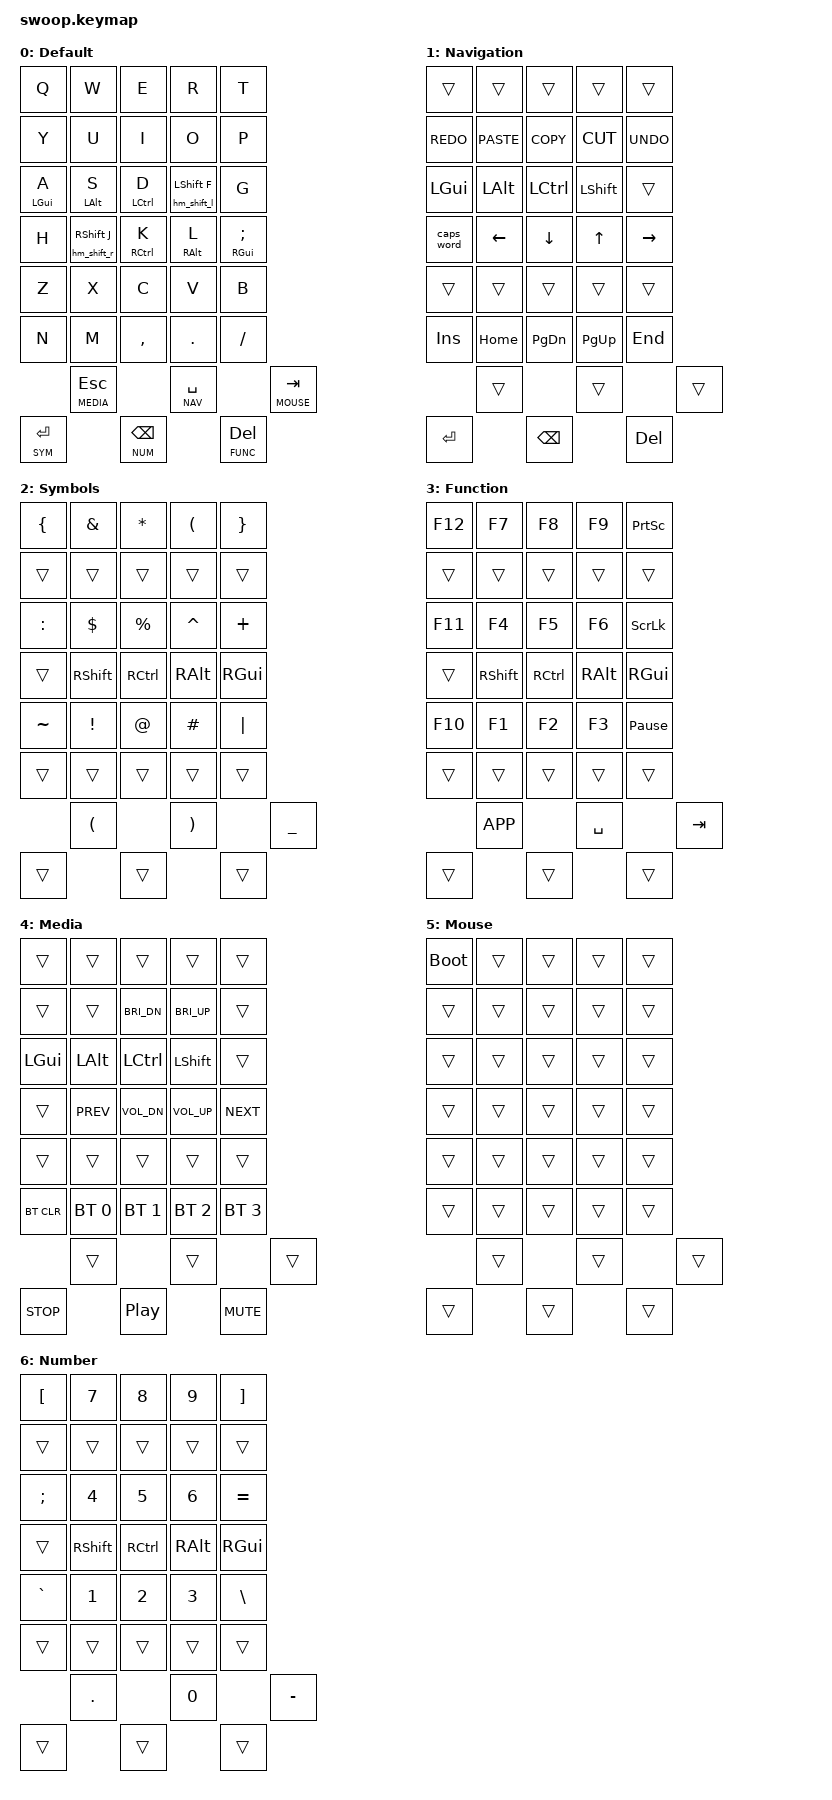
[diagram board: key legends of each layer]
#include <behaviors.dtsi>
#include <dt-bindings/zmk/keys.h>
#include <dt-bindings/zmk/bt.h>
#include <dt-bindings/zmk/outputs.h>

#include "../zmk-nodefree-config/helper.h"
#include "includes/settings.dtsi"
#include "includes/behaviours_homerow_mods.dtsi"

#define ___ &trans

#define DEFAULT 0
#define NAV     1
#define SYM     2
#define FUNC    3
#define MEDIA   4
#define MOUSE   5
#define NUM     6

&caps_word {
    continue-list = <UNDERSCORE MINUS>;
};

/ {
    behaviors {
        hm: homerow_mods {
            compatible = "zmk,behavior-hold-tap";
            display-name = "HOMEROW_MODS";
            #binding-cells = <2>;
            tapping-term-ms = <200>;
            quick_tap_ms = <0>;
            flavor = "tap-preferred";
            bindings = <&kp>, <&kp>;
        };
        hs: homerow_shift {
            compatible = "zmk,behavior-hold-tap";
            display-name = "HOMEROW_SHIFT";
            #binding-cells = <2>;
            tapping-term-ms = <150>;
            quick_tap_ms = <0>;
            flavor = "tap-preferred";
            bindings = <&kp>, <&kp>;
        };
    };
};

/ {

    keymap {
        compatible = "zmk,keymap";

        default_layer {
            display-name = "Default";

            bindings = <
	      // R1 Left
	      &kp Q  &kp W  &kp E  &kp R  &kp T
	      // R1 Right
	      &kp Y  &kp U  &kp I  &kp O  &kp P
	      // R2 Left
	      &hm_l LGUI A  &hm_l LALT S  &hm_l LCTL D  &hm_shift_l LSHIFT F  &kp G
	      // R2 Right
	      &kp H  &hm_shift_r RSHIFT J  &hm_r RCTL K  &hm_r RALT L  &hm_r RGUI SEMICOLON
	      // R3 Left
	      &kp Z  &kp X  &kp C  &kp V  &kp B
	      // R3 Right
	      &kp N  &kp M  &kp COMMA  &kp DOT  &kp FSLH

	      // Thumb Left
              &lt MEDIA ESC  &lt NAV SPACE  &lt MOUSE TAB
	      // Thumb Right
	      &lt SYM RET  &lt NUM BSPC  &lt FUNC DEL
            >;
        };

        nav_layer {
            display-name = "Navigation";

            bindings = <
	      // R1 Left
	      ___   ___   ___   ___   ___
	      // R1 Right
	      &kp K_REDO  &kp K_PASTE  &kp K_COPY  &kp K_CUT  &kp K_UNDO
	      // R2 Left
	      &kp LGUI  &kp LALT  &kp LCTL  &kp LSHIFT  ___
	      // R2 Right
	      &caps_word  &kp LEFT  &kp DOWN  &kp UP  &kp RIGHT
	      // R3 Left
	      ___   ___   ___   ___   ___ 
	      // R3 Right
	      &kp INS  &kp HOME  &kp PG_DN  &kp PG_UP  &kp END
	      // Thumb Left
	      ___   ___   ___
	      // Thumb Right
	      &kp RET &kp BSPC &kp DEL
            >;
        };

        
        sym_layer {
            display-name = "Symbols";

            bindings = <
	      // R1 Left
   	      &kp LBRC  &kp AMPS  &kp STAR  &kp LPAR  &kp RBRC
	      // R1 Right
	      ___   ___   ___   ___  ___
	      // R2 Left
	      &kp COLON  &kp DLLR  &kp PRCNT  &kp CARET  &kp PLUS
	      // R2 Right
	      ___  &kp RSHIFT  &kp RCTL  &kp RALT  &kp RGUI
	      // R3 Left
	      &kp TILDE  &kp EXCL  &kp AT  &kp HASH  &kp PIPE
	      // R3 Right
	      ___  ___  ___  ___  ___
	      // Thumb Left
              &kp LPAR &kp RPAR &kp UNDER
	      // Thumb Right
	      ___  ___  ___
            >;
        };

        func_layer {
            display-name = "Function";

            bindings = <
	      // R1 Left
	      &kp F12  &kp F7  &kp F8  &kp F9  &kp PSCRN
	      // R1 Right
	      ___  ___  ___  ___  ___
	      // R2 Left
	      &kp F11  &kp F4  &kp F5  &kp F6  &kp SLCK
	      // R2 Right
	      ___  &kp RSHIFT  &kp RCTL  &kp RALT  &kp RGUI
	      // R3 Left
	      &kp F10  &kp F1  &kp F2  &kp F3  &kp PAUSE_BREAK
	      // R3 Right 
	      ___  ___  ___  ___  ___
	      // Thumb Left
              &kp K_APP  &kp SPACE  &kp TAB   
	      // Thumb Right
	      ___  ___  ___
            >;
        };

        media_layer {
            display-name = "Media";

            bindings = <
	      // R1 Left
	      ___  ___  ___  ___  ___
	      // R1 Right
	      ___  ___  &kp C_BRI_DN  &kp C_BRI_UP  ___
	      // R2 Left
	      &kp LGUI  &kp LALT  &kp LCTL  &kp LSHIFT  ___
	      // R2 Right
	      ___  &kp C_PREV  &kp K_VOL_DN  &kp K_VOL_UP  &kp C_NEXT
	      // R3 Left
	      ___  ___  ___  ___  ___
	      // R3 Right 
	      &bt BT_CLR  &bt BT_SEL 0  &bt BT_SEL 1  &bt BT_SEL 2  &bt BT_SEL 3
	      // Thumb Left
              ___  ___  ___
	      // Thumb Right
	      &kp C_STOP  &kp C_PP  &kp C_MUTE
            >;
        };

        mouse_layer {
            display-name = "Mouse";

            bindings = <
	      // R1 Left
	      &bootloader ___  ___  ___  ___
	      // R1 Right
	      ___  ___  ___  ___  ___
	      // R2 Left
	      ___  ___  ___  ___  ___
	      // R2 Right
	      ___  ___  ___  ___  ___
	      // R3 Left
	      ___  ___  ___  ___  ___
	      // R3 Right 
	      ___  ___  ___  ___  ___
	      // Thumb Left
	      ___  ___  ___
	      // Thumb Right
	      ___  ___  ___
            >;
        };

        num_layer {
            display-name = "Number";

            bindings = <
	      // R1 Left
	      &kp LBKT  &kp N7  &kp N8  &kp N9  &kp RBKT
	      // R1 Right
	      ___  ___  ___  ___  ___
	      // R2 Left
	      &kp SEMI  &kp N4  &kp N5  &kp N6  &kp EQUAL
	      // R2 Right
	      ___  &kp RSHIFT  &kp RCTL  &kp RALT  &kp RGUI
	      // R3 Left
	      &kp GRAVE  &kp N1  &kp N2  &kp N3  &kp BSLH
	      // R3 Right 
	      ___  ___  ___  ___  ___
	      // Thumb Left
              &kp DOT  &kp N0  &kp MINUS
	      // Thumb Right
	      ___  ___  ___
            >;
        };
   };
};
